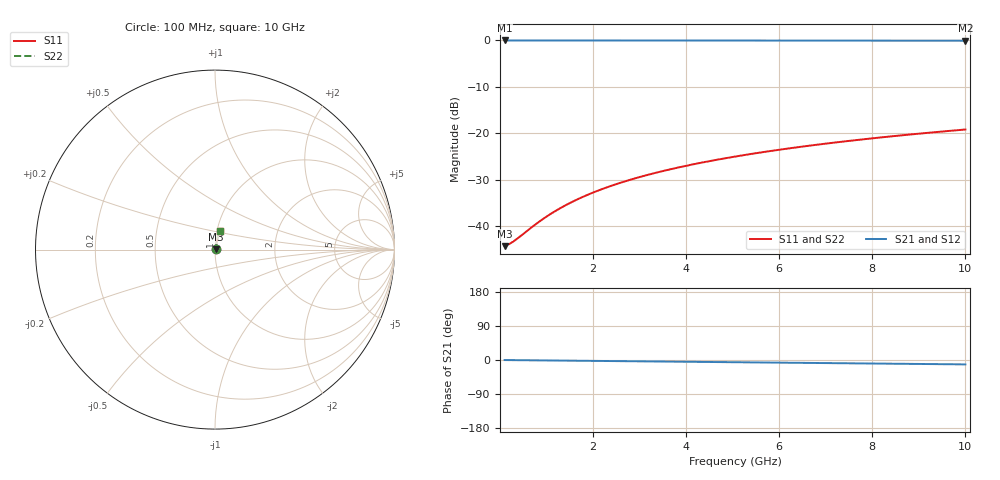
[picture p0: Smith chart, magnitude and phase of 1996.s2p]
# Hz S RI R 50.00
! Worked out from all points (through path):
!   100 points, 100 MHz to 10 GHz, reference 50 ohm
!   highest |S21| = -0.05 dB at 100 MHz (marker M1); lowest = -0.1 dB at 10 GHz (marker M2)
!   group delay of S21, straight-line fit = 3.22 ps
!   lowest |S11| = -44.3 dB at 100 MHz (marker M3), VSWR 1.01, Z = 50.6 + j0.11 ohm
!   |S11| at or under -10 dB: start of sweep to end of sweep
!   |S22| runs from -44.3 to -19.2 dB; largest |S21 - S12| = 0
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1e8  0.00597 0.00109  0.994 -0.00202  0.994 -0.00202  0.00597 0.00109
2e8  0.00601 0.00218  0.994 -0.00403  0.994 -0.00403  0.00601 0.00218
3e8  0.00605 0.00327  0.9939 -0.00605  0.9939 -0.00605  0.00605 0.00327
8e8  0.00626 0.00871  0.9937 -0.0161  0.9937 -0.0161  0.00626 0.00871
9e8  0.00631 0.0098  0.9936 -0.0181  0.9936 -0.0181  0.00631 0.0098
1.1e9  0.00642 0.012  0.9935 -0.0222  0.9935 -0.0222  0.00642 0.012
1.4e9  0.00662 0.0152  0.9933 -0.0282  0.9933 -0.0282  0.00662 0.0152
1.6e9  0.00677 0.0174  0.9931 -0.0322  0.9931 -0.0322  0.00677 0.0174
1.8e9  0.00694 0.0196  0.9929 -0.0363  0.9929 -0.0363  0.00694 0.0196
2.1e9  0.00722 0.0228  0.9926 -0.0423  0.9926 -0.0423  0.00722 0.0228
2.5e9  0.00765 0.0272  0.9921 -0.0503  0.9921 -0.0503  0.00765 0.0272
2.9e9  0.00816 0.0315  0.9915 -0.0584  0.9915 -0.0584  0.00816 0.0315
3.4e9  0.00888 0.0369  0.9906 -0.0684  0.9906 -0.0684  0.00888 0.0369
3.8e9  0.00954 0.0412  0.9898 -0.0764  0.9898 -0.0764  0.00954 0.0412
4.2e9  0.0103 0.0455  0.9889 -0.0844  0.9889 -0.0844  0.0103 0.0455
4.6e9  0.0111 0.0498  0.988 -0.0924  0.988 -0.0924  0.0111 0.0498
5.1e9  0.0121 0.0551  0.9867 -0.1024  0.9867 -0.1024  0.0121 0.0551
5.9e9  0.0141 0.0636  0.9843 -0.1183  0.9843 -0.1183  0.0141 0.0636
6.7e9  0.0163 0.0719  0.9817 -0.1341  0.9817 -0.1341  0.0163 0.0719
7.5e9  0.0188 0.0802  0.9787 -0.1499  0.9787 -0.1499  0.0188 0.0802
8.4e9  0.022 0.0895  0.9749 -0.1675  0.9749 -0.1675  0.022 0.0895
1e10  0.0283 0.1056  0.9672 -0.1985  0.9672 -0.1985  0.0283 0.1056
